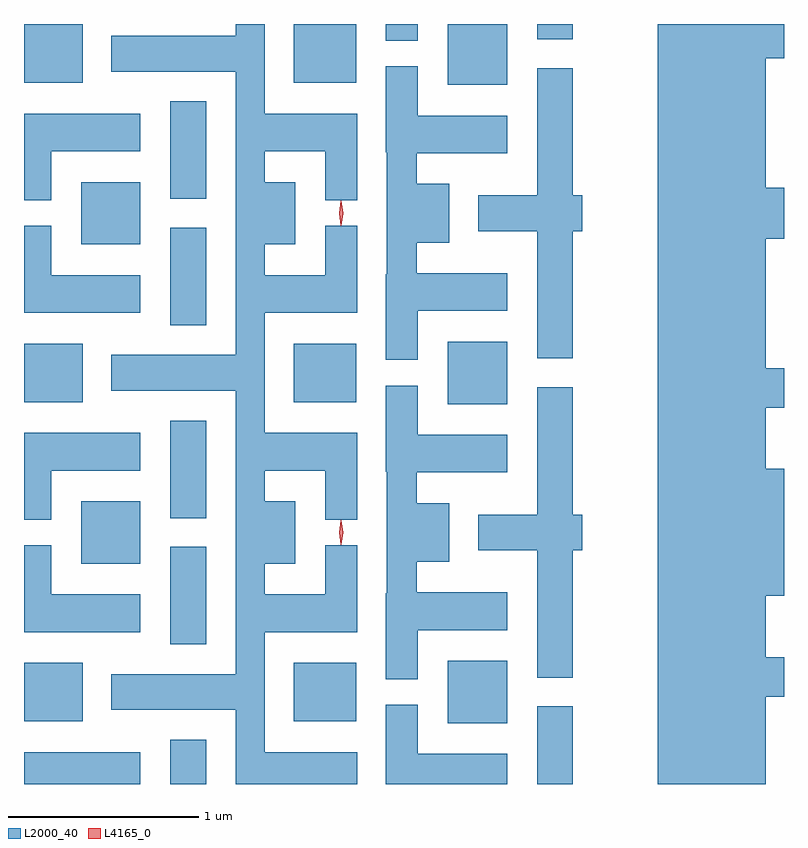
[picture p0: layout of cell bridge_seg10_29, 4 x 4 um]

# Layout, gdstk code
import gdstk
lib = gdstk.Library(unit=1e-6, precision=1e-09)
def R(c, l, rs):  # rectangles x0, y0, x1, y1
    for r in rs: c.add(gdstk.rectangle(r[:2], r[2:], *l))
def A(c, l, x, y, w, h, nx, ny, dx, dy):  # array of equal rectangles
    R(c, l, [(x+i*dx, y+j*dy, x+i*dx+w, y+j*dy+h) for i in range(nx) for j in range(ny)])
def P(c, l, *ps):  # polygons
    for p in ps: c.add(gdstk.Polygon(p, *l))
L2000_40 = (2000, 40)
L4165_0 = (4165, 0)

bridge_seg10_29 = lib.new_cell('bridge_seg10_29')
A(bridge_seg10_29, L2000_40, 1748.466, 2173.216, 0.308, 0.308, 1, 3, 0, 1.68)
A(bridge_seg10_29, L2000_40, 1749.886, 2173.216, 0.328, 0.308, 1, 3, 0, 1.68)
R(bridge_seg10_29, L2000_40, [(1748.466,2172.886,1749.079,2173.054), (1749.236,2172.886,1749.424,2173.119), (1751.166,2172.886,1751.354,2173.294), (1750.696,2173.206,1751.009,2173.534), (1749.236,2173.621,1749.424,2174.134), (1748.766,2174.046,1749.079,2174.374), (1749.236,2174.286,1749.424,2174.799), (1750.696,2174.886,1751.009,2175.214), (1749.236,2175.301,1749.424,2175.814), (1748.766,2175.726,1749.079,2176.054), (1749.236,2175.966,1749.424,2176.479), (1750.696,2176.566,1751.009,2176.886), (1750.371,2176.798,1750.539,2176.886), (1751.166,2176.806,1751.354,2176.886)])
P(bridge_seg10_29, L2000_40, [(1750.219,2173.054),(1749.734,2173.054),(1749.734,2173.686),(1750.219,2173.686),(1750.219,2174.143),(1750.051,2174.143),(1750.051,2173.884),(1749.734,2173.884),(1749.734,2174.046),(1749.894,2174.046),(1749.894,2174.374),(1749.734,2174.374),(1749.734,2174.536),(1750.051,2174.536),(1750.051,2174.278),(1750.219,2174.278),(1750.219,2174.734),(1749.734,2174.734),(1749.734,2175.366),(1750.219,2175.366),(1750.219,2175.823),(1750.051,2175.823),(1750.051,2175.564),(1749.734,2175.564),(1749.734,2175.726),(1749.894,2175.726),(1749.894,2176.054),(1749.734,2176.054),(1749.734,2176.216),(1750.051,2176.216),(1750.051,2175.958),(1750.219,2175.958),(1750.219,2176.414),(1749.734,2176.414),(1749.734,2176.886),(1749.581,2176.886),(1749.581,2176.824),(1748.926,2176.824),(1748.926,2176.636),(1749.581,2176.636),(1749.581,2175.144),(1748.926,2175.144),(1748.926,2174.956),(1749.581,2174.956),(1749.581,2173.464),(1748.926,2173.464),(1748.926,2173.276),(1749.581,2173.276),(1749.581,2172.886),(1750.219,2172.886)],
  [(1752.369,2173.346),(1752.466,2173.346),(1752.466,2173.554),(1752.369,2173.554),(1752.369,2173.876),(1752.466,2173.876),(1752.466,2174.544),(1752.369,2174.544),(1752.369,2174.866),(1752.466,2174.866),(1752.466,2175.074),(1752.369,2175.074),(1752.369,2175.756),(1752.466,2175.756),(1752.466,2176.024),(1752.369,2176.024),(1752.369,2176.706),(1752.466,2176.706),(1752.466,2176.886),(1751.801,2176.886),(1751.801,2172.886),(1752.369,2172.886)],
  [(1750.539,2175.376),(1751.009,2175.376),(1751.009,2175.574),(1750.534,2175.574),(1750.534,2175.736),(1750.704,2175.736),(1750.704,2176.044),(1750.534,2176.044),(1750.534,2176.206),(1751.009,2176.206),(1751.009,2176.404),(1750.539,2176.404),(1750.539,2176.663),(1750.371,2176.663),(1750.371,2176.21),(1750.376,2176.21),(1750.376,2175.57),(1750.371,2175.57),(1750.371,2175.118),(1750.539,2175.118)],
  [(1751.354,2175.796),(1751.404,2175.796),(1751.404,2175.984),(1751.354,2175.984),(1751.354,2176.654),(1751.166,2176.654),(1751.166,2175.984),(1750.856,2175.984),(1750.856,2175.796),(1751.166,2175.796),(1751.166,2175.126),(1751.354,2175.126)],
  [(1748.609,2176.216),(1749.079,2176.216),(1749.079,2176.414),(1748.466,2176.414),(1748.466,2175.958),(1748.609,2175.958)],
  [(1749.079,2175.564),(1748.609,2175.564),(1748.609,2175.823),(1748.466,2175.823),(1748.466,2175.366),(1749.079,2175.366)],
  [(1750.539,2173.696),(1751.009,2173.696),(1751.009,2173.894),(1750.534,2173.894),(1750.534,2174.056),(1750.704,2174.056),(1750.704,2174.364),(1750.534,2174.364),(1750.534,2174.526),(1751.009,2174.526),(1751.009,2174.724),(1750.539,2174.724),(1750.539,2174.983),(1750.371,2174.983),(1750.371,2174.53),(1750.376,2174.53),(1750.376,2173.89),(1750.371,2173.89),(1750.371,2173.438),(1750.539,2173.438)],
  [(1751.354,2174.116),(1751.404,2174.116),(1751.404,2174.304),(1751.354,2174.304),(1751.354,2174.974),(1751.166,2174.974),(1751.166,2174.304),(1750.856,2174.304),(1750.856,2174.116),(1751.166,2174.116),(1751.166,2173.446),(1751.354,2173.446)],
  [(1748.609,2174.536),(1749.079,2174.536),(1749.079,2174.734),(1748.466,2174.734),(1748.466,2174.278),(1748.609,2174.278)],
  [(1749.079,2173.884),(1748.609,2173.884),(1748.609,2174.143),(1748.466,2174.143),(1748.466,2173.686),(1749.079,2173.686)],
  [(1751.009,2173.044),(1750.539,2173.044),(1750.539,2173.303),(1750.371,2173.303),(1750.371,2172.886),(1751.009,2172.886)])
P(bridge_seg10_29, L4165_0, [(1750.135,2174.144),(1750.134,2174.145),(1750.125,2174.21),(1750.134,2174.275),(1750.135,2174.276),(1750.136,2174.275),(1750.145,2174.21),(1750.136,2174.145)],
  [(1750.135,2175.824),(1750.134,2175.825),(1750.125,2175.89),(1750.134,2175.955),(1750.135,2175.956),(1750.136,2175.955),(1750.145,2175.89),(1750.136,2175.825)])

lib.write_gds('bridge_seg10_29.gds')
